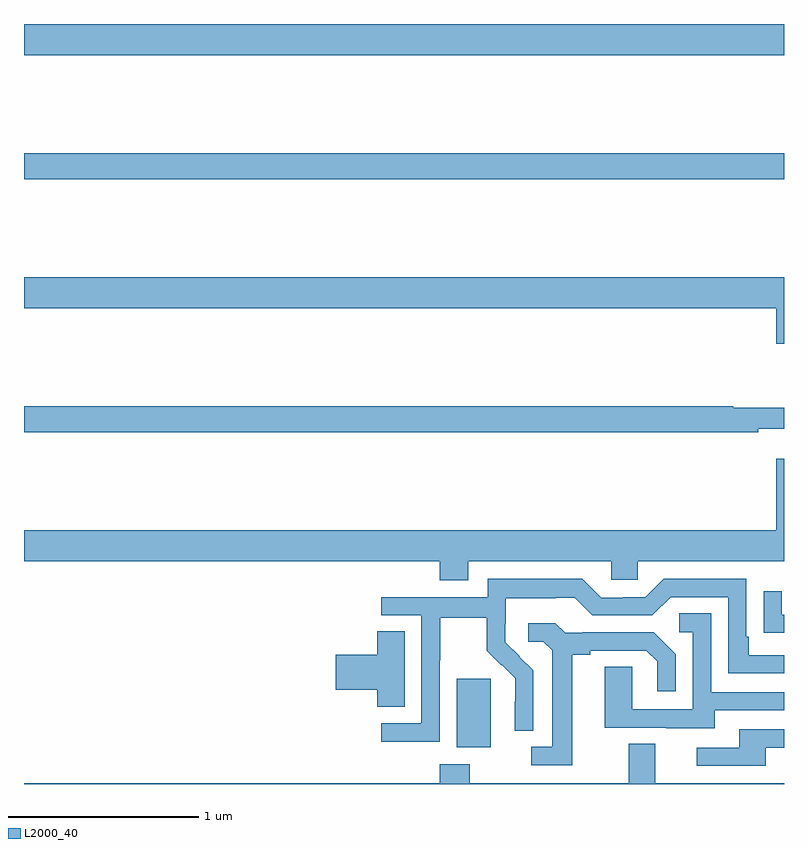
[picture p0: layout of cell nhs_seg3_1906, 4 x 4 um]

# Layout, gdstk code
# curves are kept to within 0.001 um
import gdstk
lib = gdstk.Library(unit=1e-6, precision=1e-09)
def R(c, l, rs):  # rectangles x0, y0, x1, y1
    for r in rs: c.add(gdstk.rectangle(r[:2], r[2:], *l))
def P(c, l, *ps):  # polygons
    for p in ps: c.add(gdstk.Polygon(p, *l))
L2000_40 = (2000, 40)

nhs_seg3_1906 = lib.new_cell('nhs_seg3_1906')
R(nhs_seg3_1906, L2000_40, [(211.277,710.594,211.456,710.955), (209,713.584,213,713.72), (209,714.236,213,714.4)])
P(nhs_seg3_1906, L2000_40, [(213,713.068),(209,713.068),(209,712.904),(212.96,712.904),(212.96,712.716),(213,712.716)],
  [(212.864,712.271),(213,712.271),(213,712.381),(212.734,712.381),(212.734,712.388),(209,712.388),(209,712.252),(212.864,712.252)],
  [(211.339,711.572),(212.091,711.572),(212.091,711.474),(212.229,711.474),(212.229,711.572),(213,711.572),(213,712.111),(212.96,712.111),(212.96,711.736),(209,711.736),(209,711.572),(211.187,711.572),(211.187,711.473),(211.339,711.473)],
  [(211.188,711.052),(211.191,711.052),(211.191,711.276),(211.435,711.276),(211.435,711.101),(211.512,711.024),(211.515,711.027),(211.586,710.957),(211.586,710.834),(211.584,710.834),(211.584,710.68),(211.68,710.68),(211.68,710.998),(211.534,711.146),(211.534,711.243),(211.536,711.243),(211.536,711.377),(211.799,711.377),(211.799,711.381),(211.899,711.381),(211.992,711.288),(212.307,711.288),(212.403,711.384),(212.706,711.384),(212.706,710.982),(213,710.982),(213,711.078),(212.815,711.078),(212.815,711.175),(212.802,711.175),(212.802,711.48),(212.367,711.48),(212.271,711.384),(212.153,711.384),(212.153,711.381),(212.037,711.381),(211.937,711.481),(211.44,711.481),(211.44,711.384),(210.879,711.384),(210.879,711.288),(211.092,711.288),(211.092,710.721),(210.879,710.721),(210.879,710.623),(211.188,710.623)],
  [(213,711.291),(212.989,711.291),(212.989,711.415),(212.893,711.415),(212.893,711.196),(212.995,711.196),(212.995,711.195),(213,711.195)],
  [(212.635,710.787),(213,710.787),(213,710.883),(212.616,710.883),(212.616,711.299),(212.448,711.299),(212.448,711.198),(212.52,711.198),(212.52,710.793),(212.202,710.793),(212.202,711.017),(212.057,711.017),(212.057,710.697),(212.381,710.697),(212.381,710.693),(212.635,710.693)],
  [(211.885,711.08),(211.981,711.08),(211.981,711.102),(212.276,711.102),(212.333,711.045),(212.333,710.889),(212.43,710.889),(212.43,711.082),(212.314,711.198),(211.942,711.198),(211.942,711.195),(211.848,711.195),(211.796,711.247),(211.653,711.247),(211.653,711.15),(211.734,711.15),(211.781,711.103),(211.781,710.595),(211.671,710.595),(211.671,710.499),(211.885,710.499)],
  [(211.003,711.203),(210.86,711.203),(210.86,711.08),(210.642,711.08),(210.642,710.897),(210.86,710.897),(210.86,710.806),(211.003,710.806)],
  [(212.905,710.592),(213,710.592),(213,710.688),(212.765,710.688),(212.765,710.592),(212.541,710.592),(212.541,710.496),(212.905,710.496)],
  [(213,710.404),(212.323,710.404),(212.323,710.612),(212.183,710.612),(212.183,710.404),(211.347,710.404),(211.347,710.503),(211.187,710.503),(211.187,710.404),(209,710.404),(209,710.4),(213,710.4)])

lib.write_gds('nhs_seg3_1906.gds')
